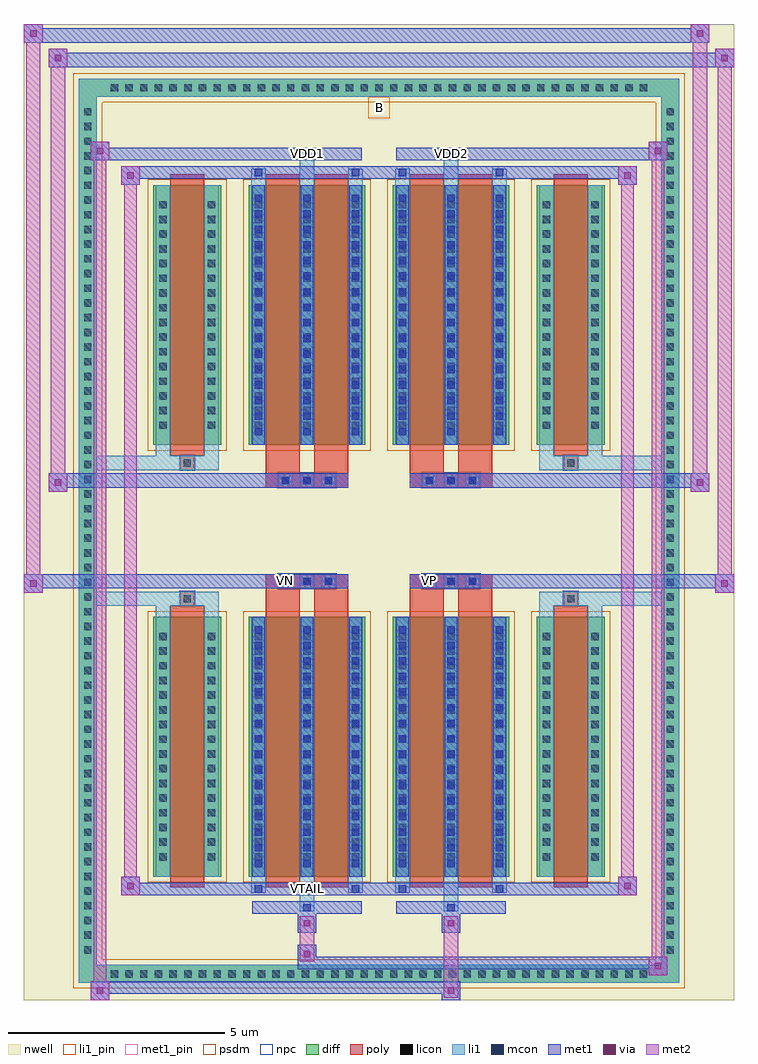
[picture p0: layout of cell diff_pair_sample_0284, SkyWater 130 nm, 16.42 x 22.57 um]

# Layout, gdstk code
import gdstk
lib = gdstk.Library(unit=1e-6, precision=5e-09)
def R(c, l, rs):  # rectangles x0, y0, x1, y1
    for r in rs: c.add(gdstk.rectangle(r[:2], r[2:], *l))
def A(c, l, x, y, w, h, nx, ny, dx, dy):  # array of equal rectangles
    R(c, l, [(x+i*dx, y+j*dy, x+i*dx+w, y+j*dy+h) for i in range(nx) for j in range(ny)])
def P(c, l, *ps):  # polygons
    for p in ps: c.add(gdstk.Polygon(p, *l))
nwell = (64, 20)
diff = (65, 20)
poly = (66, 20)
licon = (66, 44)
li1_pin = (67, 16)
li1 = (67, 20)
mcon = (67, 44)
met1_pin = (68, 16)
met1 = (68, 20)
via = (68, 44)
met2 = (69, 20)
psdm = (94, 20)
npc = (95, 20)

diff_pair_sample_0284 = lib.new_cell('diff_pair_sample_0284')
R(diff_pair_sample_0284, nwell, [(-8.21,-10.85,8.21,11.72), (-5.53,-9.04,-0.01,-0.8), (0.01,-9.04,5.53,-0.8), (-5.53,0.8,-0.01,9.04), (0.01,0.8,5.53,9.04)])
A(diff_pair_sample_0284, diff, -6.325, -10.45, 0.41, 0.41, 37, 2, 0.34, 20.49)
A(diff_pair_sample_0284, diff, -6.94, -9.895, 0.41, 0.41, 1, 58, 0, 0.34)
A(diff_pair_sample_0284, diff, 6.53, -9.895, 0.41, 0.41, 1, 58, 0, 0.34)
R(diff_pair_sample_0284, diff, [(-6.325,-10.45,6.325,-10.04), (-6.94,-9.895,-6.53,9.895), (6.53,-9.895,6.94,9.895), (-5.22,-7.995,-3.65,-1.985), (-3.01,-7.995,-0.32,-1.985), (0.32,-7.995,3.01,-1.985), (3.65,-7.995,5.22,-1.985), (-5.22,1.985,-3.65,7.995), (-3.01,1.985,-0.32,7.995), (0.32,1.985,3.01,7.995), (3.65,1.985,5.22,7.995), (-6.325,10.04,6.325,10.45)])
P(diff_pair_sample_0284, diff, [(6.94,10.45),(-6.94,10.45),(-6.94,-10.04),(-6.53,-10.04),(-6.53,10.04),(6.53,10.04),(6.53,-10.04),(-6.53,-10.04),(-6.94,-10.04),(-6.94,-10.45),(6.94,-10.45)])
A(diff_pair_sample_0284, poly, -2.33, -1.33, 0.33, 0.33, 3, 2, 0.5, 2.33)
A(diff_pair_sample_0284, poly, 1, -1.33, 0.33, 0.33, 3, 2, 0.5, 2.33)
R(diff_pair_sample_0284, poly, [(-4.83,-8.245,-4.04,-1.735), (-2.62,-8.245,-1.83,-1.735), (-1.5,-8.245,-0.71,-1.735), (0.71,-8.245,1.5,-1.735), (1.83,-8.245,2.62,-1.735), (4.04,-8.245,4.83,-1.735), (-4.6,-1.735,-4.27,-1.405), (-4.6,-1.735,-4.27,-1.405), (-2.62,-1.735,-1.83,-1.33), (-1.5,-1.735,-0.71,-1.33), (0.71,-1.735,1.5,-1.33), (1.83,-1.735,2.62,-1.33), (4.27,-1.735,4.6,-1.405), (4.27,-1.735,4.6,-1.405), (-2.62,-1.33,-0.71,-1), (0.71,-1.33,2.62,-1), (-2.62,1,-0.71,1.33), (0.71,1,2.62,1.33), (-2.62,1.33,-1.83,1.735), (-1.5,1.33,-0.71,1.735), (0.71,1.33,1.5,1.735), (1.83,1.33,2.62,1.735), (-4.6,1.405,-4.27,1.735), (-4.6,1.405,-4.27,1.735), (4.27,1.405,4.6,1.735), (4.27,1.405,4.6,1.735), (-4.83,1.735,-4.04,8.245), (-2.62,1.735,-1.83,8.245), (-1.5,1.735,-0.71,8.245), (0.71,1.735,1.5,8.245), (1.83,1.735,2.62,8.245), (4.04,1.735,4.83,8.245)])
A(diff_pair_sample_0284, licon, -6.205, -10.33, 0.17, 0.17, 37, 2, 0.34, 20.49)
A(diff_pair_sample_0284, licon, -6.82, -9.775, 0.17, 0.17, 1, 58, 0, 0.34)
A(diff_pair_sample_0284, licon, 6.65, -9.775, 0.17, 0.17, 1, 58, 0, 0.34)
A(diff_pair_sample_0284, licon, -5.08, -7.625, 0.17, 0.17, 1, 16, 0, 0.34)
A(diff_pair_sample_0284, licon, -3.96, -7.625, 0.17, 0.17, 1, 16, 0, 0.34)
A(diff_pair_sample_0284, licon, -2.87, -7.625, 0.17, 0.17, 3, 16, 1.12, 0.34)
A(diff_pair_sample_0284, licon, 0.46, -7.625, 0.17, 0.17, 3, 16, 1.12, 0.34)
A(diff_pair_sample_0284, licon, 3.79, -7.625, 0.17, 0.17, 1, 16, 0, 0.34)
A(diff_pair_sample_0284, licon, 4.91, -7.625, 0.17, 0.17, 1, 16, 0, 0.34)
A(diff_pair_sample_0284, licon, -2.25, -1.25, 0.17, 0.17, 3, 2, 0.5, 2.33)
A(diff_pair_sample_0284, licon, 1.08, -1.25, 0.17, 0.17, 3, 2, 0.5, 2.33)
A(diff_pair_sample_0284, licon, -5.08, 2.355, 0.17, 0.17, 1, 16, 0, 0.34)
A(diff_pair_sample_0284, licon, -3.96, 2.355, 0.17, 0.17, 1, 16, 0, 0.34)
A(diff_pair_sample_0284, licon, -2.87, 2.355, 0.17, 0.17, 3, 16, 1.12, 0.34)
A(diff_pair_sample_0284, licon, 0.46, 2.355, 0.17, 0.17, 3, 16, 1.12, 0.34)
A(diff_pair_sample_0284, licon, 3.79, 2.355, 0.17, 0.17, 1, 16, 0, 0.34)
A(diff_pair_sample_0284, licon, 4.91, 2.355, 0.17, 0.17, 1, 16, 0, 0.34)
R(diff_pair_sample_0284, licon, [(-4.52,-1.655,-4.35,-1.485), (4.35,-1.655,4.52,-1.485), (-4.52,1.485,-4.35,1.655), (4.35,1.485,4.52,1.655)])
R(diff_pair_sample_0284, li1_pin, [(-0.25,9.54,0.25,10.04)])
A(diff_pair_sample_0284, li1, -6.285, -10.41, 0.33, 0.33, 37, 2, 0.34, 20.49)
A(diff_pair_sample_0284, li1, -6.9, -9.855, 0.33, 0.33, 1, 58, 0, 0.34)
A(diff_pair_sample_0284, li1, 6.57, -9.855, 0.33, 0.33, 1, 58, 0, 0.34)
A(diff_pair_sample_0284, li1, -2.95, -7.995, 0.33, 6.01, 3, 2, 1.12, 9.98)
A(diff_pair_sample_0284, li1, 0.38, -7.995, 0.33, 6.01, 3, 2, 1.12, 9.98)
A(diff_pair_sample_0284, li1, -2.87, -7.775, 0.17, 0.17, 3, 16, 1.12, 0.36)
A(diff_pair_sample_0284, li1, -2.87, -7.775, 0.17, 5.57, 3, 2, 1.12, 9.98)
A(diff_pair_sample_0284, li1, 0.46, -7.775, 0.17, 0.17, 3, 16, 1.12, 0.36)
A(diff_pair_sample_0284, li1, 0.46, -7.775, 0.17, 5.57, 3, 2, 1.12, 9.98)
A(diff_pair_sample_0284, li1, -5.16, -7.705, 0.33, 0.33, 1, 16, 0, 0.34)
A(diff_pair_sample_0284, li1, -4.04, -7.705, 0.33, 0.33, 1, 16, 0, 0.34)
A(diff_pair_sample_0284, li1, -2.95, -7.705, 0.33, 0.33, 3, 16, 1.12, 0.34)
A(diff_pair_sample_0284, li1, 0.38, -7.705, 0.33, 0.33, 3, 16, 1.12, 0.34)
A(diff_pair_sample_0284, li1, 3.71, -7.705, 0.33, 0.33, 1, 16, 0, 0.34)
A(diff_pair_sample_0284, li1, 4.83, -7.705, 0.33, 0.33, 1, 16, 0, 0.34)
A(diff_pair_sample_0284, li1, -2.33, -1.33, 0.33, 0.33, 3, 2, 0.5, 2.33)
A(diff_pair_sample_0284, li1, 1, -1.33, 0.33, 0.33, 3, 2, 0.5, 2.33)
A(diff_pair_sample_0284, li1, -2.87, 2.205, 0.17, 0.17, 3, 16, 1.12, 0.36)
A(diff_pair_sample_0284, li1, 0.46, 2.205, 0.17, 0.17, 3, 16, 1.12, 0.36)
A(diff_pair_sample_0284, li1, -5.16, 2.275, 0.33, 0.33, 1, 16, 0, 0.34)
A(diff_pair_sample_0284, li1, -4.04, 2.275, 0.33, 0.33, 1, 16, 0, 0.34)
A(diff_pair_sample_0284, li1, -2.95, 2.275, 0.33, 0.33, 3, 16, 1.12, 0.34)
A(diff_pair_sample_0284, li1, 0.38, 2.275, 0.33, 0.33, 3, 16, 1.12, 0.34)
A(diff_pair_sample_0284, li1, 3.71, 2.275, 0.33, 0.33, 1, 16, 0, 0.34)
A(diff_pair_sample_0284, li1, 4.83, 2.275, 0.33, 0.33, 1, 16, 0, 0.34)
R(diff_pair_sample_0284, li1, [(-6.94,-10.45,-6.53,-10.04), (-6.94,-10.45,-6.53,-10.04), (-6.53,-10.45,6.53,-10.04), (6.53,-10.45,6.94,-10.04), (6.53,-10.45,6.94,-10.04), (-6.94,-10.04,-6.53,10.04), (6.53,-10.04,6.94,10.04), (-1.83,-8.8,-1.5,-7.995), (-1.75,-8.8,-1.58,-8.63), (1.5,-8.8,1.83,-7.995), (1.58,-8.8,1.75,-8.63), (-2.95,-8.37,-2.62,-7.995), (-2.87,-8.37,-2.7,-8.2), (-0.71,-8.37,-0.38,-7.995), (-0.63,-8.37,-0.46,-8.2), (0.38,-8.37,0.71,-7.995), (0.46,-8.37,0.63,-8.2), (2.62,-8.37,2.95,-7.995), (2.7,-8.37,2.87,-8.2), (-5.16,-7.995,-4.83,-1.985), (-4.04,-7.995,-3.71,-1.985), (3.71,-7.995,4.04,-1.985), (4.83,-7.995,5.16,-1.985), (-5.16,-1.985,-4.83,-1.405), (-4.04,-1.985,-3.71,-1.405), (3.71,-1.985,4.04,-1.405), (4.83,-1.985,5.16,-1.405), (-6.94,-1.735,-4.6,-1.405), (-5.16,-1.735,-4.6,-1.405), (-4.6,-1.735,-4.27,-1.405), (-4.27,-1.735,-3.71,-1.405), (3.71,-1.735,4.27,-1.405), (4.27,-1.735,4.6,-1.405), (4.27,-1.735,6.94,-1.405), (4.6,-1.735,5.16,-1.405), (-6.94,1.405,-4.6,1.735), (-5.16,1.405,-4.6,1.735), (-5.16,1.405,-4.83,1.985), (-4.6,1.405,-4.27,1.735), (-4.27,1.405,-3.71,1.735), (-4.04,1.405,-3.71,1.985), (3.71,1.405,4.27,1.735), (3.71,1.405,4.04,1.985), (4.27,1.405,4.6,1.735), (4.27,1.405,6.94,1.735), (4.6,1.405,5.16,1.735), (4.83,1.405,5.16,1.985), (-5.16,1.985,-4.83,7.995), (-4.04,1.985,-3.71,7.995), (3.71,1.985,4.04,7.995), (4.83,1.985,5.16,7.995), (-2.95,7.995,-2.62,8.37), (-1.83,7.995,-1.5,8.8), (-0.71,7.995,-0.38,8.37), (0.38,7.995,0.71,8.37), (1.5,7.995,1.83,8.8), (2.62,7.995,2.95,8.37), (-2.87,8.2,-2.7,8.37), (-0.63,8.2,-0.46,8.37), (0.46,8.2,0.63,8.37), (2.7,8.2,2.87,8.37), (-1.75,8.63,-1.58,8.8), (1.58,8.63,1.75,8.8), (-6.94,10.04,-6.53,10.45), (-6.94,10.04,-6.53,10.45), (-6.53,10.04,6.53,10.45), (6.53,10.04,6.94,10.45), (6.53,10.04,6.94,10.45)])
A(diff_pair_sample_0284, mcon, -2.87, -7.775, 0.17, 0.17, 3, 16, 1.12, 0.36)
A(diff_pair_sample_0284, mcon, 0.46, -7.775, 0.17, 0.17, 3, 16, 1.12, 0.36)
A(diff_pair_sample_0284, mcon, -2.25, -1.25, 0.17, 0.17, 3, 2, 0.5, 2.33)
A(diff_pair_sample_0284, mcon, 1.08, -1.25, 0.17, 0.17, 3, 2, 0.5, 2.33)
A(diff_pair_sample_0284, mcon, -2.87, 2.205, 0.17, 0.17, 3, 16, 1.12, 0.36)
A(diff_pair_sample_0284, mcon, 0.46, 2.205, 0.17, 0.17, 3, 16, 1.12, 0.36)
R(diff_pair_sample_0284, mcon, [(-1.75,-8.8,-1.58,-8.63), (1.58,-8.8,1.75,-8.63), (-2.87,-8.37,-2.7,-8.2), (-0.63,-8.37,-0.46,-8.2), (0.46,-8.37,0.63,-8.2), (2.7,-8.37,2.87,-8.2), (-2.87,8.2,-2.7,8.37), (-0.63,8.2,-0.46,8.37), (0.46,8.2,0.63,8.37), (2.7,8.2,2.87,8.37), (-1.75,8.63,-1.58,8.8), (1.58,8.63,1.75,8.8)])
R(diff_pair_sample_0284, met1_pin, [(-1.8,-8.41,-1.53,-8.14), (-2.3,-1.29,-2.03,-1.02), (1.03,-1.29,1.3,-1.02), (-1.8,8.59,-1.53,8.86), (1.53,8.59,1.8,8.86)])
A(diff_pair_sample_0284, met1, -2.93, -7.995, 0.29, 6.01, 3, 2, 1.12, 9.98)
A(diff_pair_sample_0284, met1, 0.4, -7.995, 0.29, 6.01, 3, 2, 1.12, 9.98)
A(diff_pair_sample_0284, met1, -2.93, -7.835, 0.29, 0.29, 3, 16, 1.12, 0.36)
A(diff_pair_sample_0284, met1, 0.4, -7.835, 0.29, 0.29, 3, 16, 1.12, 0.36)
A(diff_pair_sample_0284, met1, -2.31, -1.31, 0.29, 0.29, 3, 2, 0.5, 2.33)
A(diff_pair_sample_0284, met1, 1.02, -1.31, 0.29, 0.29, 3, 2, 0.5, 2.33)
A(diff_pair_sample_0284, met1, -2.93, 2.145, 0.29, 0.29, 3, 16, 1.12, 0.36)
A(diff_pair_sample_0284, met1, 0.4, 2.145, 0.29, 0.29, 3, 16, 1.12, 0.36)
R(diff_pair_sample_0284, met1, [(-6.67,-10.85,-6.24,-10.42), (1.45,-10.85,1.88,-10.42), (-6.67,-10.71,1.88,-10.42), (6.24,-10.28,6.67,-9.85), (-1.88,-10.14,6.67,-9.85), (-1.88,-10,-1.45,-9.57), (-1.88,-9.29,-1.45,-8.86), (1.45,-9.29,1.88,-8.86), (-2.93,-8.86,-0.4,-8.57), (-1.81,-8.86,-1.52,-8.57), (0.4,-8.86,2.93,-8.57), (1.52,-8.86,1.81,-8.57), (-5.96,-8.43,-5.53,-8), (-5.96,-8.43,-2.93,-8.14), (-2.93,-8.43,-2.64,-8.14), (-2.93,-8.43,-0.4,-8.14), (-0.69,-8.43,-0.4,-8.14), (-0.4,-8.43,0.4,-8.14), (0.4,-8.43,0.69,-8.14), (0.4,-8.43,2.93,-8.14), (2.64,-8.43,2.93,-8.14), (2.93,-8.43,5.96,-8.14), (5.53,-8.43,5.96,-8), (-8.21,-1.43,-7.78,-1), (7.78,-1.43,8.21,-1), (-8.21,-1.33,-0.71,-1), (-2.62,-1.33,-0.71,-1), (0.71,-1.33,2.62,-1), (0.71,-1.33,8.21,-1), (-7.64,0.9,-7.21,1.33), (7.21,0.9,7.64,1.33), (-7.64,1,-2.62,1.33), (-2.62,1,-0.71,1.33), (0.71,1,2.62,1.33), (2.62,1,7.64,1.33), (-5.96,8,-5.53,8.43), (5.53,8,5.96,8.43), (-5.96,8.14,-2.93,8.43), (-2.93,8.14,-2.64,8.43), (-2.93,8.14,-0.4,8.43), (-0.69,8.14,-0.4,8.43), (-0.4,8.14,0.4,8.43), (0.4,8.14,0.69,8.43), (0.4,8.14,2.93,8.43), (2.64,8.14,2.93,8.43), (2.93,8.14,5.96,8.43), (-6.67,8.57,-6.24,9), (-6.67,8.57,-2.93,8.86), (-2.93,8.57,-0.4,8.86), (-1.81,8.57,-1.52,8.86), (0.4,8.57,2.93,8.86), (1.52,8.57,1.81,8.86), (2.93,8.57,6.67,8.86), (6.24,8.57,6.67,9), (-7.64,10.72,-7.21,11.15), (-7.64,10.72,-5.53,11.05), (-5.53,10.72,5.53,11.05), (5.53,10.72,8.21,11.05), (7.78,10.72,8.21,11.15), (-8.21,11.29,-7.78,11.72), (-8.21,11.29,-5.53,11.62), (-5.53,11.29,5.53,11.62), (5.53,11.29,7.64,11.62), (7.21,11.29,7.64,11.72)])
R(diff_pair_sample_0284, via, [(-6.53,-10.71,-6.38,-10.56), (1.59,-10.71,1.74,-10.56), (6.38,-10.14,6.53,-9.99), (-1.74,-9.86,-1.59,-9.71), (-1.74,-9.15,-1.59,-9), (1.59,-9.15,1.74,-9), (-5.82,-8.29,-5.67,-8.14), (5.67,-8.29,5.82,-8.14), (-8.07,-1.29,-7.92,-1.14), (7.92,-1.29,8.07,-1.14), (-7.5,1.04,-7.35,1.19), (7.35,1.04,7.5,1.19), (-5.82,8.14,-5.67,8.29), (5.67,8.14,5.82,8.29), (-6.53,8.71,-6.38,8.86), (6.38,8.71,6.53,8.86), (-7.5,10.86,-7.35,11.01), (7.92,10.86,8.07,11.01), (-8.07,11.43,-7.92,11.58), (7.35,11.43,7.5,11.58)])
R(diff_pair_sample_0284, met2, [(-6.67,-10.85,-6.24,-10.42), (-6.6,-10.85,-6.31,9), (-6.31,-10.85,-6.24,-10.42), (-6.62,-10.8,-6.29,-10.47), (1.5,-10.8,1.83,-10.47), (1.5,-10.47,1.83,-9.24), (6.24,-10.28,6.67,-9.85), (6.31,-10.28,6.6,9), (6.6,-10.28,6.67,-9.85), (6.29,-10.23,6.62,-9.9), (-1.83,-9.95,-1.5,-9.62), (-1.83,-9.62,-1.5,-9.24), (-1.83,-9.24,-1.5,-8.91), (1.5,-9.24,1.83,-8.91), (-5.96,-8.43,-5.53,-8), (-5.89,-8.43,-5.6,8.43), (-5.6,-8.43,-5.53,-8), (5.53,-8.43,5.96,-8), (5.6,-8.43,5.89,8.43), (5.89,-8.43,5.96,-8), (-5.91,-8.38,-5.58,-8.05), (5.58,-8.38,5.91,-8.05), (-8.21,-1.43,-7.78,-1), (-8.16,-1.43,-7.83,11.72), (-7.83,-1.43,-7.78,-1), (7.78,-1.43,8.21,-1), (7.83,-1.43,8.16,11.15), (8.16,-1.43,8.21,-1), (-8.16,-1.38,-7.83,-1.05), (7.83,-1.38,8.16,-1.05), (-7.64,0.9,-7.21,1.33), (-7.59,0.9,-7.26,11.15), (-7.26,0.9,-7.21,1.33), (7.21,0.9,7.64,1.33), (7.26,0.9,7.59,11.72), (7.59,0.9,7.64,1.33), (-7.59,0.95,-7.26,1.28), (7.26,0.95,7.59,1.28), (-5.96,8,-5.53,8.43), (-5.6,8,-5.53,8.43), (5.53,8,5.96,8.43), (5.89,8,5.96,8.43), (-5.91,8.05,-5.58,8.38), (5.58,8.05,5.91,8.38), (-6.67,8.57,-6.24,9), (-6.31,8.57,-6.24,9), (6.24,8.57,6.67,9), (6.6,8.57,6.67,9), (-6.62,8.62,-6.29,8.95), (6.29,8.62,6.62,8.95), (-7.64,10.72,-7.21,11.15), (-7.26,10.72,-7.21,11.15), (7.78,10.72,8.21,11.15), (8.16,10.72,8.21,11.15), (-7.59,10.77,-7.26,11.1), (7.83,10.77,8.16,11.1), (-8.21,11.29,-7.78,11.72), (-7.83,11.29,-7.78,11.72), (7.21,11.29,7.64,11.72), (7.59,11.29,7.64,11.72), (-8.16,11.34,-7.83,11.67), (7.26,11.34,7.59,11.67)])
R(diff_pair_sample_0284, psdm, [(-5.35,-8.125,-3.52,-1.855), (-3.14,-8.125,-0.19,-1.855), (0.19,-8.125,3.14,-1.855), (3.52,-8.125,5.35,-1.855), (-5.35,1.855,-3.52,8.125), (-3.14,1.855,-0.19,8.125), (0.19,1.855,3.14,8.125), (3.52,1.855,5.35,8.125)])
P(diff_pair_sample_0284, psdm, [(7.07,10.58),(-7.07,10.58),(-7.07,-9.91),(-6.4,-9.91),(-6.4,9.91),(6.4,9.91),(6.4,-9.91),(-6.4,-9.91),(-7.07,-9.91),(-7.07,-10.58),(7.07,-10.58)])
A(diff_pair_sample_0284, npc, -2.35, -1.35, 0.37, 0.37, 3, 2, 0.5, 2.33)
A(diff_pair_sample_0284, npc, 0.98, -1.35, 0.37, 0.37, 3, 2, 0.5, 2.33)
R(diff_pair_sample_0284, npc, [(-4.62,-1.755,-4.25,-1.385), (4.25,-1.755,4.62,-1.385), (-2.35,-1.35,-1.48,-0.98), (-2.35,-1.35,-1.48,-0.98), (-1.85,-1.35,-0.98,-0.98), (-1.85,-1.35,-0.98,-0.98), (0.98,-1.35,1.85,-0.98), (0.98,-1.35,1.85,-0.98), (1.48,-1.35,2.35,-0.98), (1.48,-1.35,2.35,-0.98), (-2.35,0.98,-1.48,1.35), (-2.35,0.98,-1.48,1.35), (-1.85,0.98,-0.98,1.35), (-1.85,0.98,-0.98,1.35), (0.98,0.98,1.85,1.35), (0.98,0.98,1.85,1.35), (1.48,0.98,2.35,1.35), (1.48,0.98,2.35,1.35), (-4.62,1.385,-4.25,1.755), (4.25,1.385,4.62,1.755)])
diff_pair_sample_0284.add(gdstk.Label('VTAIL', (-1.665,-8.275), layer=68, texttype=5))
diff_pair_sample_0284.add(gdstk.Label('VN', (-2.165,-1.155), layer=68, texttype=5))
diff_pair_sample_0284.add(gdstk.Label('VP', (1.165,-1.155), layer=68, texttype=5))
diff_pair_sample_0284.add(gdstk.Label('B', (0,9.79), layer=67, texttype=5))
diff_pair_sample_0284.add(gdstk.Label('VDD2', (1.665,8.725), layer=68, texttype=5))
diff_pair_sample_0284.add(gdstk.Label('VDD1', (-1.665,8.725), layer=68, texttype=5))

lib.write_gds('diff_pair_sample_0284.gds')
